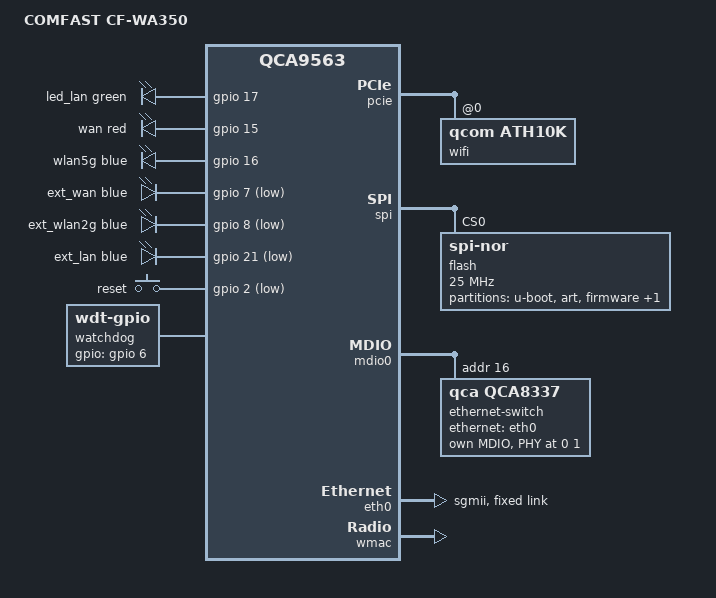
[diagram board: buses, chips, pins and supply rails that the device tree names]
// SPDX-License-Identifier: GPL-2.0-or-later OR MIT

#include "qca956x.dtsi"

#include <dt-bindings/gpio/gpio.h>
#include <dt-bindings/input/input.h>
#include <dt-bindings/leds/common.h>

/ {
	model = "COMFAST CF-WA350";
	compatible = "comfast,cf-wa350", "qca,qca9563";

	aliases {
		label-mac-device = &eth0;
		led-boot = &led_lan;
		led-failsafe = &led_lan;
		led-running = &led_lan;
		led-upgrade = &led_lan;
	};

	leds {
		compatible = "gpio-leds";

		led_lan: lan {
			color = <LED_COLOR_ID_GREEN>;
			function = LED_FUNCTION_LAN;
			gpios = <&gpio 17 GPIO_ACTIVE_HIGH>;
		};

		wan {
			color = <LED_COLOR_ID_RED>;
			function = LED_FUNCTION_WAN;
			gpios = <&gpio 15 GPIO_ACTIVE_HIGH>;
		};

		wlan5g {
			color = <LED_COLOR_ID_BLUE>;
			function = LED_FUNCTION_WLAN_5GHZ;
			gpios = <&gpio 16 GPIO_ACTIVE_HIGH>;
		};

		ext_wan {
			color = <LED_COLOR_ID_BLUE>;
			function = "ext-wan";
			gpios = <&gpio 7 GPIO_ACTIVE_LOW>;
		};

		ext_wlan2g {
			color = <LED_COLOR_ID_BLUE>;
			function = "ext-wlan2g";
			gpios = <&gpio 8 GPIO_ACTIVE_LOW>;
		};

		ext_lan {
			color = <LED_COLOR_ID_BLUE>;
			function = "ext-lan";
			gpios = <&gpio 21 GPIO_ACTIVE_LOW>;
		};
	};

	keys {
		compatible = "gpio-keys";

		reset {
			linux,code = <KEY_RESTART>;
			gpios = <&gpio 2 GPIO_ACTIVE_LOW>;
			debounce-interval = <60>;
		};
	};

	watchdog {
		compatible = "linux,wdt-gpio";
		gpios = <&gpio 6 GPIO_ACTIVE_HIGH>;
		hw_algo = "toggle";
		hw_margin_ms = <500>;
		always-running;
	};
};

&pcie {
	status = "okay";

	wifi@0,0 {
		compatible = "qcom,ath10k";
		reg = <0x0000 0 0 0 0>;
		nvmem-cells = <&precal_art_5000>, <&macaddr_art_0 2>;
		nvmem-cell-names = "pre-calibration", "mac-address";
	};
};

&spi {
	status = "okay";

	flash@0 {
		compatible = "jedec,spi-nor";
		reg = <0>;
		spi-max-frequency = <25000000>;

		partitions {
			compatible = "fixed-partitions";
			#address-cells = <1>;
			#size-cells = <1>;

			partition@0 {
				label = "u-boot";
				reg = <0x000000 0x040000>;
				read-only;
			};

			partition@40000 {
				label = "art";
				reg = <0x040000 0x010000>;
				read-only;

				nvmem-layout {
					compatible = "fixed-layout";
					#address-cells = <1>;
					#size-cells = <1>;

					macaddr_art_0: macaddr@0 {
						compatible = "mac-base";
						reg = <0x0 0x6>;
						#nvmem-cell-cells = <1>;
					};

					cal_art_1000: calibration@1000 {
						reg = <0x1000 0x440>;
					};

					precal_art_5000: pre-calibration@5000 {
						reg = <0x5000 0x2f20>;
					};
				};
			};

			partition@50000 {
				compatible = "denx,uimage";
				label = "firmware";
				reg = <0x050000 0xfa0000>;
			};

			partition@ff0000 {
				label = "art-backup";
				reg = <0xff0000 0x010000>;
				read-only;
			};
		};
	};
};

/*
 * QCA8337 (AR8337 rev. 2): qca8k reaches the switch registers through the
 * hardcoded MDIO window 0x10-0x18, while the five port PHYs answer at 0-4.
 * Anchor the switch node at 0x10 so it does not collide with PHY 0.
 *
 * The port PHYs are declared on the switch's internal MDIO bus and both user
 * ports select it with phy-mode = "internal", so qca8k_setup_mdio_bus() picks
 * the internal mask, registers the MDIO master bus and leaves the external
 * MDC/MDIO passthrough disconnected. This is required on the generic
 * subtarget, where CONFIG_AR8216_PHY=y is built into the kernel and its
 * phy_driver matches this switch's PHY ID (0x004dd036): with the PHYs on the
 * external ag71xx bus that driver identifies the chip through the 0x10/0x18
 * window, registers a swconfig switch on a DSA-only board and only lets go of
 * the PHY because its probe then fails on the missing qca,ar8327-initvals.
 *
 * phy-mode = "internal" is mandatory: qca8k_setup_mdio_bus() ignores the
 * of_get_phy_mode() error and leaves the mode uninitialized when the property
 * is missing, and a mixed internal/external mask is rejected outright.
 *
 * NOTE: on ath79 this layout also needs the ar8216 guard from
 * 731-ar8216-skip-phys-on-switch-internal-mdio-bus.patch. Without it the
 * built-in legacy driver probes the PHY at internal address 0 and reaches the
 * switch through ar8xxx_read(), which 730-ar8216-make-reg-access-atomic.patch
 * wraps in local_irq_save(); qca8k's MDIO master may sleep there and
 * busy-waits up to 2000 ms per access, which locks the single CPU up with
 * interrupts off and resets the board in a loop before preinit.
 */
&mdio0 {
	status = "okay";

	ethernet-switch@10 {
		compatible = "qca,qca8337";
		reg = <0x10>;

		ethernet-ports {
			#address-cells = <1>;
			#size-cells = <0>;

			ethernet-port@0 {
				reg = <0>;
				ethernet = <&eth0>;
				phy-mode = "sgmii";

				/*
				 * Stock firmware programs PORT0_PAD_MODE_CTRL (0x04)
				 * with 0x00080080: BIT(7) enables SGMII (handled via
				 * phy-mode) and BIT(19) selects the SGMII RX clock
				 * falling edge, which this board requires.
				 * PORT0_STATUS (0x7c) = 0x7e is covered by fixed-link.
				 * qca,sgmii-enable-pll is deliberately omitted: the
				 * binding advises it for a QCA8337 SGMII CPU port, but
				 * this board's CPU link is stable at 1G without it.
				 */
				qca,sgmii-rxclk-falling-edge;

				fixed-link {
					speed = <1000>;
					full-duplex;
				};
			};

			ethernet-port@1 {
				reg = <1>;
				label = "wan";
				phy-mode = "internal";
				phy-handle = <&phy_port1>;
			};

			ethernet-port@2 {
				reg = <2>;
				label = "lan";
				phy-mode = "internal";
				phy-handle = <&phy_port2>;
			};
		};

		mdio {
			#address-cells = <1>;
			#size-cells = <0>;

			/* qca8k maps port N to internal PHY N - 1 */
			phy_port1: ethernet-phy@0 {
				reg = <0>;
			};

			phy_port2: ethernet-phy@1 {
				reg = <1>;
			};
		};
	};
};

&wdt {
	status = "disabled";
};

&eth0 {
	status = "okay";

	pll-data = <0x03000101 0x00000101 0x00001919>;

	phy-mode = "sgmii";
	nvmem-cells = <&macaddr_art_0 0>;
	nvmem-cell-names = "mac-address";

	fixed-link {
		speed = <1000>;
		full-duplex;
	};
};

&wmac {
	status = "okay";

	nvmem-cells = <&macaddr_art_0 10>, <&cal_art_1000>;
	nvmem-cell-names = "mac-address", "calibration";
};
